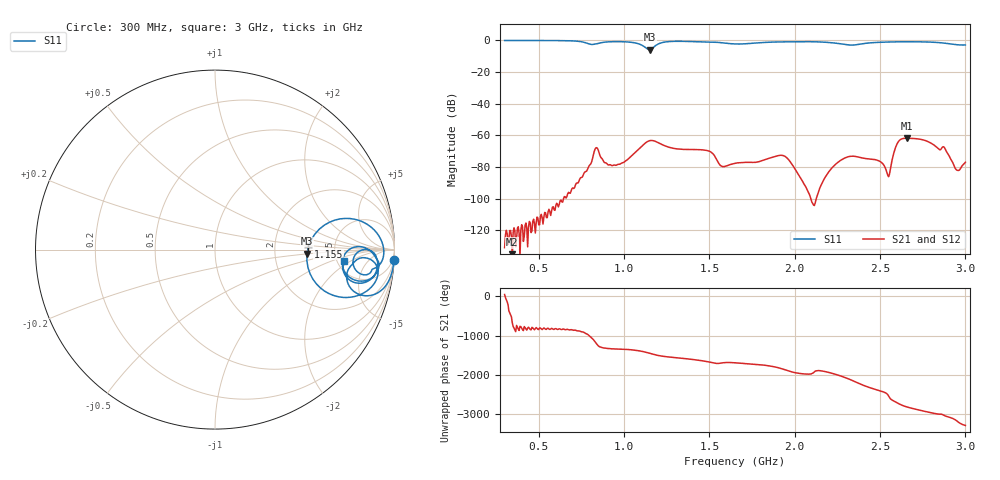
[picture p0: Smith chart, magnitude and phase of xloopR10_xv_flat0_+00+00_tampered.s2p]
! xloopR10_xv_flat0_+00+00_tampered, gap C 0.80 pF
! simulated by sim/fixtures_fdtd.py (S12 = S21, S22 not computed)
# HZ S RI R 50
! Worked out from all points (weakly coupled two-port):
!   541 points, 300 MHz to 3 GHz, reference 50 ohm
!   highest |S21| = -61.81 dB at 2.655 GHz (marker M1); lowest = -137.0 dB at 345 MHz (marker M2)
!   lowest |S11| = -5.8 dB at 1.15 GHz (marker M3), VSWR 3.11, Z = 155 - j9.47 ohm
!   |S11| at or under -10 dB: nowhere
!   |S22| runs from - to - dB; largest |S21 - S12| = 0
!   S11 on the Smith chart (normalised r, x): 300 MHz: 1, -34; 1.155 GHz: 3.17, +0.14; 3 GHz: 5.77, -1.47
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3e8  0.9974 -0.0579  2e-07 2e-07  2e-07 2e-07  0 0
3.45e8  0.9964 -0.0679  1e-07 1e-07  1e-07 1e-07  0 0
7.5e8  0.8749 -0.2535  -4.67e-05 2.8e-06  -4.67e-05 2.8e-06  0 0
8e8  0.7396 -0.186  6.4e-05 9.91e-05  6.4e-05 9.91e-05  0 0
8.35e8  0.7724 -0.073  -0.000129 -0.000384  -0.000129 -0.000384  0 0
9.45e8  0.9084 -0.1276  -1.59e-05 0.000114  -1.59e-05 0.000114  0 0
1.095e9  0.6992 -0.2647  0.000286 0.000295  0.000286 0.000295  0 0
1.15e9  0.513 -0.0225  0.000664 -0.000152  0.000664 -0.000152  0 0
1.155e9  0.5208 0.0161  0.00065 -0.000229  0.00065 -0.000229  0 0
1.2e9  0.752 0.1731  0.000216 -0.000549  0.000216 -0.000549  0 0
1.495e9  0.8766 -0.1092  -0.000203 0.000251  -0.000203 0.000251  0 0
1.575e9  0.8299 -0.1405  -2.38e-05 0.000102  -2.38e-05 0.000102  0 0
1.65e9  0.7706 -0.0855  -3.58e-05 0.000126  -3.58e-05 0.000126  0 0
1.92e9  0.8984 -0.042  0.000181 -0.000151  0.000181 -0.000151  0 0
2.1e9  0.9034 -0.1243  -7.8e-06 -1.3e-06  -7.8e-06 -1.3e-06  0 0
2.34e9  0.712 -0.0525  0.000217 3.98e-05  0.000217 3.98e-05  0 0
2.55e9  0.8914 -0.0371  4.58e-05 -1.88e-05  4.58e-05 -1.88e-05  0 0
2.605e9  0.905 -0.0633  -0.000545 0.000267  -0.000545 0.000267  0 0
2.655e9  0.9054 -0.09  0.000364 0.000725  0.000364 0.000725  0 0
2.875e9  0.8032 -0.1875  -0.000386 -0.000182  -0.000386 -0.000182  0 0
2.945e9  0.724 -0.141  1.23e-05 8.31e-05  1.23e-05 8.31e-05  0 0
3e9  0.7178 -0.0615  8.95e-05 -0.000111  8.95e-05 -0.000111  0 0
